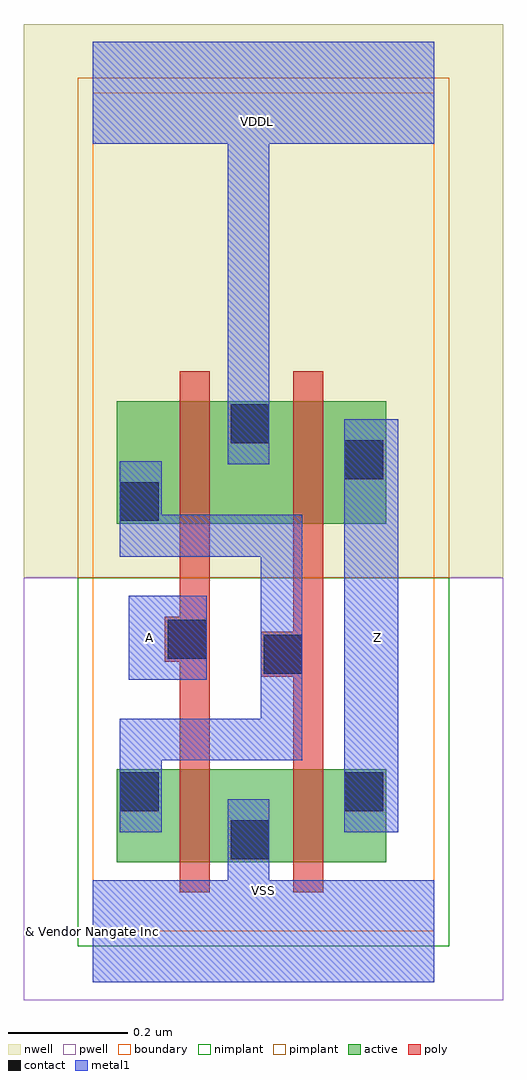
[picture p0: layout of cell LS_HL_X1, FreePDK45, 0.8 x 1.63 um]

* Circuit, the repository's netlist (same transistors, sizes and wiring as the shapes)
* 
* ******************************************************************************
* *                                                                            *
* *                   Copyright (C) 2004-2011, Nangate Inc.                    *
* *                           All rights reserved.                             *
* *                                                                            *
* * Nangate and the Nangate logo are trademarks of Nangate Inc.                *
* *                                                                            *
* * All trademarks, logos, software marks, and trade names (collectively the   *
* * "Marks") in this program are proprietary to Nangate or other respective    *
* * owners that have granted Nangate the right and license to use such Marks.  *
* * You are not permitted to use the Marks without the prior written consent   *
* * of Nangate or such third party that may own the Marks.                     *
* *                                                                            *
* * This file has been provided pursuant to a License Agreement containing     *
* * restrictions on its use. This file contains valuable trade secrets and     *
* * proprietary information of Nangate Inc., and is protected by U.S. and      *
* * international laws and/or treaties.                                        *
* *                                                                            *
* * The copyright notice(s) in this file does not indicate actual or intended  *
* * publication of this file.                                                  *
* *                                                                            *
* *     NGLibraryCreator, v2010.08-HR32-SP3-2010-08-05 - build 1009061800      *
* *                                                                            *
* ******************************************************************************
* 
* 
* Running on server08.nangate.com for user Giancarlo Franciscatto (gfr).
* Local time is now Thu, 6 Jan 2011, 19:45:47.
* Main process id is 3320.
*
********************************************************************************
*                                                                              *
* Cellname:   LS_HL_X1.                                                        *
*                                                                              *
* Technology: NCSU FreePDK 45nm.                                               *
* Format:     Cdl.                                                             *
*                                                                              *
* Written on server08.nangate.com for user Giancarlo Franciscatto (gfr)        *
* at 19:45:47 on Thu, 6 Jan 2011.                                              *
*                                                                              *
********************************************************************************
.SUBCKT LS_HL_X1 A Z VDDL VSS 
*.PININFO A:I Z:O VDDL:P VSS:G 
*.EQN Z=A
M_i_0 VSS A net_000 VSS NMOS_VTL W=0.155000U L=0.050000U
M_i_7 Z net_000 VSS VSS NMOS_VTL W=0.155000U L=0.050000U
M_i_13 VDDL A net_000 VDDL PMOS_VTL W=0.205000U L=0.050000U
M_i_20 Z net_000 VDDL VDDL PMOS_VTL W=0.205000U L=0.050000U
.ENDS 

********************************************************************************
*
* END
*
********************************************************************************

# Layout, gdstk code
import gdstk
lib = gdstk.Library(unit=1e-6, precision=1e-10)
def R(c, l, rs):  # rectangles x0, y0, x1, y1
    for r in rs: c.add(gdstk.rectangle(r[:2], r[2:], *l))
def P(c, l, *ps):  # polygons
    for p in ps: c.add(gdstk.Polygon(p, *l))
active = (1, 0)
pwell = (2, 0)
nwell = (3, 0)
nimplant = (4, 0)
pimplant = (5, 0)
poly = (9, 0)
contact = (10, 0)
metal1 = (11, 0)
boundary = (235, 0)

ls_hl_x1 = lib.new_cell('LS_HL_X1')
R(ls_hl_x1, active, [(0.04,0.115,0.49,0.27), (0.04,0.68,0.49,0.885)])
R(ls_hl_x1, pwell, [(-0.115,-0.115,0.685,0.59)])
R(ls_hl_x1, nwell, [(-0.115,0.59,0.685,1.515)])
R(ls_hl_x1, nimplant, [(-0.025,-0.025,0.595,0.59)])
R(ls_hl_x1, pimplant, [(-0.025,0.59,0.595,1.425)])
P(ls_hl_x1, poly, [(0.12,0.45),(0.145,0.45),(0.145,0.065),(0.195,0.065),(0.195,0.935),(0.145,0.935),(0.145,0.525),(0.12,0.525)],
  [(0.28,0.425),(0.335,0.425),(0.335,0.065),(0.385,0.065),(0.385,0.935),(0.335,0.935),(0.335,0.5),(0.28,0.5)])
R(ls_hl_x1, contact, [(0.23,0.12,0.295,0.185), (0.045,0.2,0.11,0.265), (0.42,0.2,0.485,0.265), (0.285,0.43,0.35,0.495), (0.125,0.455,0.19,0.52), (0.045,0.685,0.11,0.75), (0.42,0.755,0.485,0.82), (0.23,0.815,0.295,0.88)])
R(ls_hl_x1, metal1, [(0.42,0.165,0.51,0.855), (0.06,0.42,0.19,0.56)])
P(ls_hl_x1, metal1, [(0.045,0.625),(0.28,0.625),(0.28,0.355),(0.045,0.355),(0.045,0.165),(0.115,0.165),(0.115,0.285),(0.35,0.285),(0.35,0.695),(0.115,0.695),(0.115,0.785),(0.045,0.785)],
  [(0,-0.085),(0.57,-0.085),(0.57,0.085),(0.295,0.085),(0.295,0.22),(0.225,0.22),(0.225,0.085),(0,0.085)],
  [(0,1.315),(0.225,1.315),(0.225,0.78),(0.295,0.78),(0.295,1.315),(0.57,1.315),(0.57,1.485),(0,1.485)])
R(ls_hl_x1, boundary, [(0,0,0.57,1.4)])
ls_hl_x1.add(gdstk.Label('A', (0.095,0.49), layer=11, texttype=0))
ls_hl_x1.add(gdstk.Label('VDDL', (0.275,1.3525), layer=11, texttype=0))
ls_hl_x1.add(gdstk.Label('VSS', (0.285,0.0675), layer=11, texttype=0))
ls_hl_x1.add(gdstk.Label('Z', (0.475,0.49), layer=11, texttype=0))
ls_hl_x1.add(gdstk.Label('& Vendor Nangate Inc', (0,0), layer=63, texttype=63))
ls_hl_x1.add(gdstk.Label('& Product Open Cell Library', (0,0), layer=63, texttype=63))
ls_hl_x1.add(gdstk.Label('& Version 2010_12', (0,0), layer=63, texttype=63))
ls_hl_x1.add(gdstk.Label('& Instance LS_HL_X1', (0,0), layer=63, texttype=63))

lib.write_gds('LS_HL_X1.gds')
